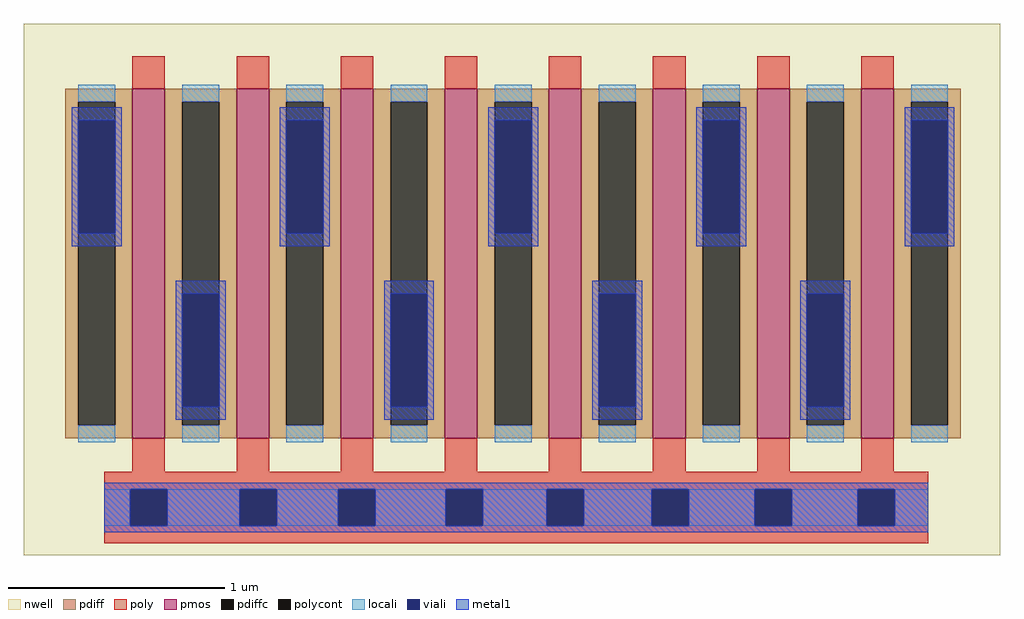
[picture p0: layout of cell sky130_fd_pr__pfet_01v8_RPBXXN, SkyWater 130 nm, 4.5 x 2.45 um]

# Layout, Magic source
magic
tech sky130A
magscale 1 2
<< nwell >>
rect -451 -269 449 221
<< pmos >>
rect -351 -161 -321 161
rect -255 -161 -225 161
rect -159 -161 -129 161
rect -63 -161 -33 161
rect 33 -161 63 161
rect 129 -161 159 161
rect 225 -161 255 161
rect 321 -161 351 161
<< pdiff >>
rect -413 149 -351 161
rect -413 -149 -401 149
rect -367 -149 -351 149
rect -413 -161 -351 -149
rect -321 149 -255 161
rect -321 -149 -305 149
rect -271 -149 -255 149
rect -321 -161 -255 -149
rect -225 149 -159 161
rect -225 -149 -209 149
rect -175 -149 -159 149
rect -225 -161 -159 -149
rect -129 149 -63 161
rect -129 -149 -113 149
rect -79 -149 -63 149
rect -129 -161 -63 -149
rect -33 149 33 161
rect -33 -149 -17 149
rect 17 -149 33 149
rect -33 -161 33 -149
rect 63 149 129 161
rect 63 -149 79 149
rect 113 -149 129 149
rect 63 -161 129 -149
rect 159 149 225 161
rect 159 -149 175 149
rect 209 -149 225 149
rect 159 -161 225 -149
rect 255 149 321 161
rect 255 -149 271 149
rect 305 -149 321 149
rect 255 -161 321 -149
rect 351 149 413 161
rect 351 -149 367 149
rect 401 -149 413 149
rect 351 -161 413 -149
<< pdiffc >>
rect -401 -149 -367 149
rect -305 -149 -271 149
rect -209 -149 -175 149
rect -113 -149 -79 149
rect -17 -149 17 149
rect 79 -149 113 149
rect 175 -149 209 149
rect 271 -149 305 149
rect 367 -149 401 149
<< poly >>
rect -351 161 -321 191
rect -255 161 -225 191
rect -159 161 -129 191
rect -63 161 -33 191
rect 33 161 63 191
rect 129 161 159 191
rect 225 161 255 191
rect 321 161 351 191
rect -351 -192 -321 -161
rect -255 -192 -225 -161
rect -159 -192 -129 -161
rect -63 -192 -33 -161
rect 33 -192 63 -161
rect 129 -192 159 -161
rect 225 -192 255 -161
rect 321 -192 351 -161
rect -377 -208 383 -192
rect -377 -242 -353 -208
rect -319 -242 -252 -208
rect -218 -242 -161 -208
rect -127 -242 -62 -208
rect -28 -242 31 -208
rect 65 -242 128 -208
rect 162 -242 223 -208
rect 257 -242 318 -208
rect 352 -242 383 -208
rect -377 -258 383 -242
<< polycont >>
rect -353 -242 -319 -208
rect -252 -242 -218 -208
rect -161 -242 -127 -208
rect -62 -242 -28 -208
rect 31 -242 65 -208
rect 128 -242 162 -208
rect 223 -242 257 -208
rect 318 -242 352 -208
<< locali >>
rect -401 149 -367 165
rect -401 -165 -367 -149
rect -305 149 -271 165
rect -305 -165 -271 -149
rect -209 149 -175 165
rect -209 -165 -175 -149
rect -113 149 -79 165
rect -113 -165 -79 -149
rect -17 149 17 165
rect -17 -165 17 -149
rect 79 149 113 165
rect 79 -165 113 -149
rect 175 149 209 165
rect 175 -165 209 -149
rect 271 149 305 165
rect 271 -165 305 -149
rect 367 149 401 165
rect 367 -165 401 -149
rect -377 -242 -353 -208
rect -319 -242 -252 -208
rect -218 -242 -161 -208
rect -127 -242 -62 -208
rect -28 -242 31 -208
rect 65 -242 128 -208
rect 162 -242 223 -208
rect 257 -242 318 -208
rect 352 -242 383 -208
<< viali >>
rect -401 28 -367 132
rect -305 -132 -271 -28
rect -209 28 -175 132
rect -113 -132 -79 -28
rect -17 28 17 132
rect 79 -132 113 -28
rect 175 28 209 132
rect 271 -132 305 -28
rect 367 28 401 132
rect -353 -242 -319 -208
rect -252 -242 -218 -208
rect -161 -242 -127 -208
rect -62 -242 -28 -208
rect 31 -242 65 -208
rect 128 -242 162 -208
rect 223 -242 257 -208
rect 318 -242 352 -208
<< metal1 >>
rect -407 132 -361 144
rect -407 28 -401 132
rect -367 28 -361 132
rect -407 16 -361 28
rect -215 132 -169 144
rect -215 28 -209 132
rect -175 28 -169 132
rect -215 16 -169 28
rect -23 132 23 144
rect -23 28 -17 132
rect 17 28 23 132
rect -23 16 23 28
rect 169 132 215 144
rect 169 28 175 132
rect 209 28 215 132
rect 169 16 215 28
rect 361 132 407 144
rect 361 28 367 132
rect 401 28 407 132
rect 361 16 407 28
rect -311 -28 -265 -16
rect -311 -132 -305 -28
rect -271 -132 -265 -28
rect -311 -144 -265 -132
rect -119 -28 -73 -16
rect -119 -132 -113 -28
rect -79 -132 -73 -28
rect -119 -144 -73 -132
rect 73 -28 119 -16
rect 73 -132 79 -28
rect 113 -132 119 -28
rect 73 -144 119 -132
rect 265 -28 311 -16
rect 265 -132 271 -28
rect 305 -132 311 -28
rect 265 -144 311 -132
rect -377 -208 383 -202
rect -377 -242 -353 -208
rect -319 -242 -252 -208
rect -218 -242 -161 -208
rect -127 -242 -62 -208
rect -28 -242 31 -208
rect 65 -242 128 -208
rect 162 -242 223 -208
rect 257 -242 318 -208
rect 352 -242 383 -208
rect -377 -248 383 -242
<< properties >>
string gencell sky130_fd_pr__pfet_01v8
string library sky130
string parameters w 1.605 l 0.15 m 1 nf 8 diffcov 100 polycov 100 guard 0 glc 1 grc 1 gtc 1 gbc 1 tbcov 100 rlcov 100 topc 1 botc 1 poverlap 0 doverlap 1 lmin 0.15 wmin 0.42 compatible {sky130_fd_pr__pfet_01v8  sky130_fd_pr__pfet_01v8_lvt sky130_fd_pr__pfet_01v8_hvt  sky130_fd_pr__pfet_g5v0d10v5} full_metal 0 viasrc +35 viadrn -35 viagate 100 viagb 0 viagr 0 viagl 0 viagt 0
<< end >>
